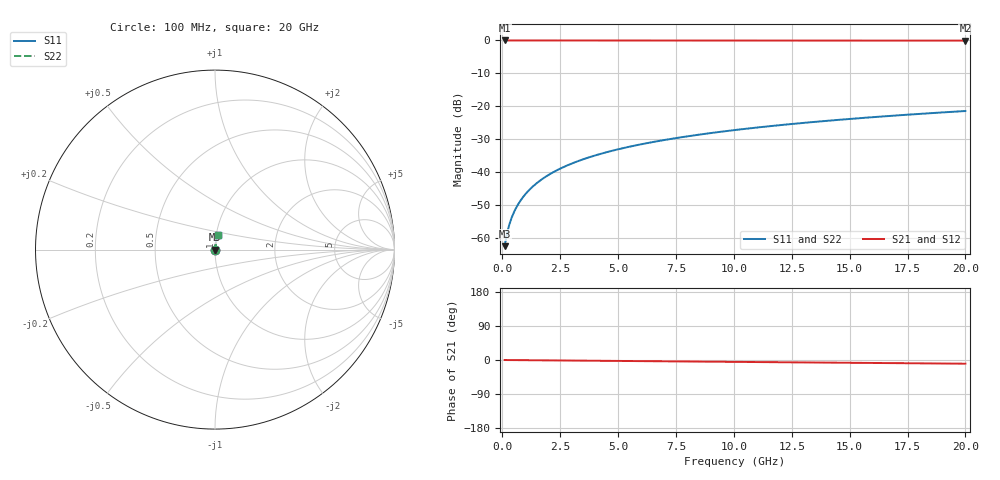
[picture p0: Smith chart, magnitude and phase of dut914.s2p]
! Touchstone file exported from HFSS 2026.1.0
!  File:  C:/ffzhzh/LocalFiles/Ansys_Project_Files/temp_train_TMRDL_914_1783158055_43440.aedt
!  Generated:  05:42:01 PM Jul  4, 2026
!  Design:  TMRDL
!  Project:  temp_train_TMRDL_914_1783158055_43440
! Variables:
!  h_bsmrdl = 2um
!  h_ox = 20um
!  h_rdl = 5um
!  h_sub = 80um
!  h_tmrdl = 4.5um
!  h_tsv = 80um
!  h_via = 3um
!  l_bsmrdl = 300um
!  l_sub = 517.97um
!  l_tmrdl = 117.97um
!  m_sub = 200um
!  pitch = 46.92um
!  r_tsv = 6um
!  s_tmrdl = 10um
!  w_bsmrdl = 18um
!  w_sub = 500um
!  w_tmrdl = 26.38um
!  x_tsv_center1 = 131.16um
!  x_tsv_center2 = 449.16um
!  x_tsv_center3 = 593.51um
!  x_tsv_center4 = 911.51um
!  x_tsv_center5 = 1055.86um
!  x_tsv_center6 = 1373.86um
# GHz S MA R 50.000000
! Terminal data exported
! Port[1] = TM_RDL1_1_T1
! Port[2] = TM_RDL1_1_T2
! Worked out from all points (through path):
!   200 points, 100 MHz to 20 GHz, reference 50 ohm
!   highest |S21| = 0.00 dB at 100 MHz (marker M1); lowest = -0.1 dB at 20 GHz (marker M2)
!   group delay of S21, straight-line fit = 1.35 ps
!   lowest |S11| = -62.6 dB at 100 MHz (marker M3), VSWR 1.00, Z = 50.1 + j0.0504 ohm
!   |S11| at or under -10 dB: start of sweep to end of sweep
!   |S22| runs from -62.6 to -21.5 dB; largest |S21 - S12| = 2.3e-15
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0.1  0.0007414 42.8  0.9995 -0.1  0.9995 -0.1  0.0007414 42.8
! Gamma 0 0 0 0
! Port Impedance 50 0 50 0
0.2  0.001143 59.2  0.9994 -0.1  0.9994 -0.1  0.001143 59.2
0.3  0.001566 66.5  0.9994 -0.2  0.9994 -0.2  0.001566 66.5
0.4  0.001992 70.8  0.9993 -0.2  0.9993 -0.2  0.001992 70.8
0.5  0.002419 73.7  0.9993 -0.3  0.9993 -0.3  0.002419 73.7
0.6  0.002849 75.8  0.9993 -0.3  0.9993 -0.3  0.002849 75.8
0.8  0.003717 78.6  0.9993 -0.4  0.9993 -0.4  0.003717 78.6
1.1  0.005033 81.0  0.9992 -0.6  0.9992 -0.6  0.005033 81.0
1.5  0.006799 82.7  0.9992 -0.8  0.9992 -0.8  0.006799 82.7
1.8  0.008125 83.4  0.9991 -0.9  0.9991 -0.9  0.008125 83.4
2.1  0.00945 83.8  0.9991 -1.1  0.9991 -1.1  0.00945 83.8
2.7  0.01209 84.2  0.999 -1.4  0.999 -1.4  0.01209 84.2
3.5  0.01559 84.3  0.9988 -1.7  0.9988 -1.7  0.01559 84.3
4.2  0.01863 84.3  0.9986 -2.1  0.9986 -2.1  0.01863 84.3
5  0.02207 84.1  0.9984 -2.5  0.9984 -2.5  0.02207 84.1
5.9  0.02591 83.8  0.9982 -2.9  0.9982 -2.9  0.02591 83.8
6.8  0.02973 83.5  0.9979 -3.4  0.9979 -3.4  0.02973 83.5
8.3  0.03605 83.0  0.9975 -4.1  0.9975 -4.1  0.03605 83.0
10.1  0.04358 82.3  0.997 -5.0  0.997 -5.0  0.04358 82.3
13.4  0.05729 81.1  0.996 -6.6  0.996 -6.6  0.05729 81.1
16.7  0.0709 79.7  0.9948 -8.2  0.9948 -8.2  0.0709 79.7
20  0.08438 78.3  0.9935 -9.8  0.9935 -9.8  0.08438 78.3
